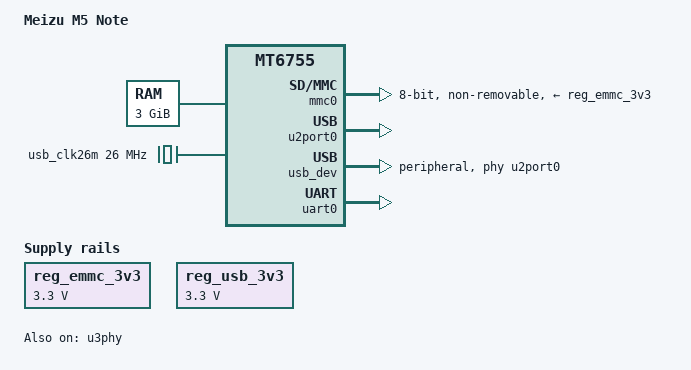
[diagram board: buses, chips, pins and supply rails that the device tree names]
// SPDX-License-Identifier: GPL-2.0
/dts-v1/;

#include <dt-bindings/interrupt-controller/arm-gic.h>
#include <dt-bindings/interrupt-controller/irq.h>
#include <dt-bindings/phy/phy.h>
#include "mt6755.dtsi"

/ {
	/* LK принудительно заменяет /model */
	model = "Meizu M5 Note";
	compatible = "meizu,m5note", "mediatek,mt6755";

	aliases {
		serial0 = &uart0;
	};

	chosen {
		stdout-path = "framebuffer0";

		/* значения сняты с живого Android: fb_base 0x7e800000, stride 4352 */
		framebuffer0: framebuffer@9e420000 {
			compatible = "simple-framebuffer";
			reg = <0x0 0x9e420000 0x0 0x7f8000>;
			width = <1080>;
			height = <1920>;
			stride = <((1080 + 8) * 4)>;
			format = "a8r8g8b8";
		};
	};

	/* /reserved-memory должен существовать, иначе LK недоволен */
	reserved-memory {
		#address-cells = <2>;
		#size-cells = <2>;
		ranges;

		/* то же, что LK резервирует в cmdline (mrdump) и в стоковом DTB (ATF) */
		atf@44600000 {
			reg = <0x0 0x44600000 0x0 0x40000>;
			no-map;
		};
		mrdump1@44000000 {
			reg = <0x0 0x44000000 0x0 0x200000>;
			no-map;
		};
		mrdump2@44800000 {
			reg = <0x0 0x44800000 0x0 0xe0000>;
			no-map;
		};
		mrdump3@46000000 {
			reg = <0x0 0x46000000 0x0 0x400000>;
			no-map;
		};

		ccci-md1 {
			no-map;
			size = <0x00 0xa100000>;
			alignment = <0x00 0x2000000>;
			alloc-ranges = <0x00 0x40000000 0x00 0xc0000000>;
		};
		ccci-share {
			no-map;
			size = <0x00 0x600000>;
			alignment = <0x00 0x4000000>;
			alloc-ranges = <0x00 0x40000000 0x00 0xc0000000>;
		};
		spm {
			no-map;
			size = <0x00 0x20000>;
			alignment = <0x00 0x10000>;
			alloc-ranges = <0x00 0x40000000 0x00 0x60000000>;
		};
		consys {
			no-map;
			size = <0x00 0x100000>;
			alignment = <0x00 0x200000>;
			alloc-ranges = <0x00 0x40000000 0x00 0x60000000>;
		};
	};

	/* заглушка: LK сам подставляет реальные диапазоны памяти */
	memory@40000000 {
		device_type = "memory";
		reg = <0x0 0x40000000 0x0 0xc0000000>;
	};
};

&uart0 {
	status = "okay";
};

/* eMMC (msdc0): LK уже инициализировал контроллер, такты берём фиксированные */
/ {
	msdc0_src: clock-msdc0-src {
		compatible = "fixed-clock";
		#clock-cells = <0>;
		clock-frequency = <400000000>;
	};

	msdc0_hclk: clock-msdc0-hclk {
		compatible = "fixed-clock";
		#clock-cells = <0>;
		clock-frequency = <26000000>;
	};

	mmc0: mmc@11230000 {
		compatible = "mediatek,mt8173-mmc";
		reg = <0x0 0x11230000 0x0 0x1000>;
		interrupts = <GIC_SPI 79 IRQ_TYPE_LEVEL_LOW>;
		clocks = <&msdc0_src>, <&msdc0_hclk>;
		clock-names = "source", "hclk";
		pinctrl-names = "default", "state_uhs";
		pinctrl-0 = <>;
		pinctrl-1 = <>;
		bus-width = <8>;
		max-frequency = <50000000>;
		cap-mmc-highspeed;
		non-removable;
		no-sd;
		no-sdio;
		status = "okay";
	};
};


/* питание eMMC: LK его уже включил, ядру только сообщаем напряжение */
/ {
	reg_emmc_3v3: regulator-emmc-3v3 {
		compatible = "regulator-fixed";
		regulator-name = "emmc_vcc_3v3";
		regulator-min-microvolt = <3300000>;
		regulator-max-microvolt = <3300000>;
		regulator-always-on;
		regulator-boot-on;
	};
};

&mmc0 {
	vmmc-supply = <&reg_emmc_3v3>;
};

/* USB (SSUSB/mtu3) только в режиме устройства; такты и питание: LK уже включил */
/ {
	usb_clk26m: clock-usb-26m {
		compatible = "fixed-clock";
		#clock-cells = <0>;
		clock-frequency = <26000000>;
	};

	reg_usb_3v3: regulator-usb-3v3 {
		compatible = "regulator-fixed";
		regulator-name = "usb_avdd33";
		regulator-min-microvolt = <3300000>;
		regulator-max-microvolt = <3300000>;
		regulator-always-on;
		regulator-boot-on;
	};

	u3phy: t-phy@11290000 {
		compatible = "mediatek,generic-tphy-v1";
		reg = <0x0 0x11290000 0x0 0x800>;
		#address-cells = <2>;
		#size-cells = <2>;
		ranges;
		status = "okay";

		u2port0: usb-phy@11290800 {
			reg = <0x0 0x11290800 0x0 0x100>;
			clocks = <&usb_clk26m>;
			clock-names = "ref";
			#phy-cells = <1>;
			status = "okay";
		};
	};

	usb_dev: usb@11271000 {
		compatible = "mediatek,mt8173-mtu3";
		reg = <0x0 0x11271000 0x0 0x3000>, <0x0 0x11280700 0x0 0x100>;
		reg-names = "mac", "ippc";
		interrupts = <GIC_SPI 72 IRQ_TYPE_LEVEL_LOW>;
		phys = <&u2port0 PHY_TYPE_USB2>;
		clocks = <&usb_clk26m>, <&usb_clk26m>;
		clock-names = "sys_ck", "ref_ck";
		vusb33-supply = <&reg_usb_3v3>;
		dr_mode = "peripheral";
		maximum-speed = "high-speed";
		status = "okay";
	};
};
